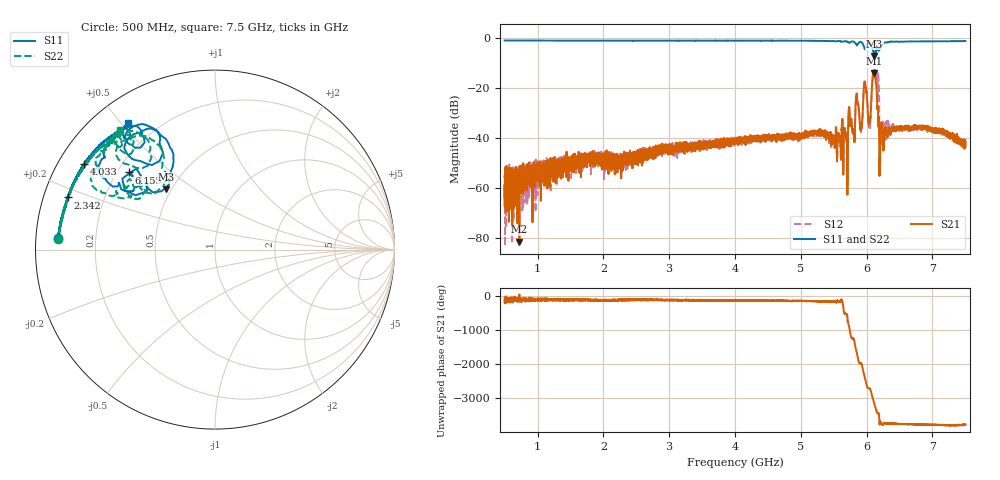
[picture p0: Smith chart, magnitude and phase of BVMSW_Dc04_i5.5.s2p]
!Keysight Technologies,M9374A,MY55442783,A.12.55.05
!Date: Thursday, May 20, 2021 18:23:49
!Correction: S11(Full 2 Port(1,2))
!S21(Full 2 Port(1,2))
!S12(Full 2 Port(1,2))
!S22(Full 2 Port(1,2))
!S2P File: Measurements: S11, S21, S12, S22:
# Hz S  RI  R 50
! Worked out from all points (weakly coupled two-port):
!   7001 points, 500 MHz to 7.5 GHz, reference 50 ohm
!   highest |S21| = -14.23 dB at 6.107 GHz (marker M1); lowest = -81.6 dB at 724 MHz (marker M2)
!   lowest |S11| = -7.3 dB at 6.119 GHz (marker M3), VSWR 2.53, Z = 23.4 + j19.4 ohm
!   |S11| at or under -10 dB: nowhere
!   |S22| runs from -7.3 to -1.1 dB; largest |S21 - S12| = 0.23
!   S11 on the Smith chart (normalised r, x): 500 MHz: 0.07, +0.04; 2.342 GHz: 0.07, +0.17; 4.033 GHz: 0.07, +0.30; 6.155 GHz: 0.25, +0.36; 7.5 GHz: 0.10, +0.52
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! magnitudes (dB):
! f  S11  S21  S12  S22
! 500 MHz  -1.1  -63.5  -55.3  -1.2
! 724 MHz  -1.2  -81.6  -53.1  -1.2
! 1.667 GHz  -1.2  -46.2  -48.7  -1.2
! 2.342 GHz  -1.2  -47.9  -52.9  -1.2
! 2.834 GHz  -1.2  -45.1  -46.6  -1.2
! 4 GHz  -1.2  -41.8  -40.9  -1.3
! 4.033 GHz  -1.2  -41.2  -42.2  -1.3
! 5.167 GHz  -1.3  -38.6  -38.3  -1.3
! 5.678 GHz  -1.4  -37.9  -38.3  -1.4
! 5.751 GHz  -1.8  -35.3  -35.1  -1.9
! 5.796 GHz  -1.6  -36.9  -37.5  -1.6
! 5.858 GHz  -2.7  -24.9  -24.9  -2.7
! 5.914 GHz  -1.7  -36.5  -37.9  -1.7
! 5.978 GHz  -4.4  -18.4  -18.4  -4.2
! 6.044 GHz  -2.2  -33.4  -35.7  -2.2
! 6.107 GHz  -5.9  -14.2  -13.0  -5.6
! 6.119 GHz  -7.3  -15.0  -12.8  -6.9
! 6.155 GHz  -3.8  -23.5  -16.0  -4.6
! 6.188 GHz  -4.9  -36.4  -19.6  -5.1
! 6.228 GHz  -3.2  -34.1  -34.2  -3.2
! 6.334 GHz  -1.8  -36.3  -36.1  -1.7
! 7.5 GHz  -1.4  -43.7  -42.3  -1.4
